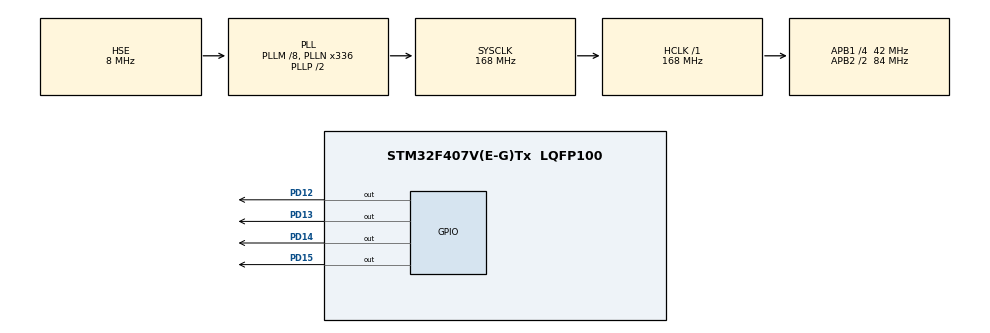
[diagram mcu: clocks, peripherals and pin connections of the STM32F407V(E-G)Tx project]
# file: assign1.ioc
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Mcu.Family=STM32F4
Mcu.Name=STM32F407V(E-G)Tx
Mcu.Package=LQFP100
NVIC.PriorityGroup=NVIC_PRIORITYGROUP_4
NVIC.TIM1_UP_TIM10_IRQn=true\:0\:0\:false\:false\:true\:false\:true\:true
NVIC.TimeBase=TIM1_UP_TIM10_IRQn
NVIC.TimeBaseIP=TIM1
PD12.Signal=GPIO_Output
PD13.Signal=GPIO_Output
PD14.Signal=GPIO_Output
PD15.Signal=GPIO_Output
ProjectManager.HeapSize=0x200
ProjectManager.StackSize=0x400
ProjectManager.TargetToolchain=STM32CubeIDE
RCC.48MHZClocksFreq_Value=48000000
RCC.AHBFreq_Value=168000000
RCC.APB1CLKDivider=RCC_HCLK_DIV4
RCC.APB1Freq_Value=42000000
RCC.APB1TimFreq_Value=84000000
RCC.APB2CLKDivider=RCC_HCLK_DIV2
RCC.APB2Freq_Value=84000000
RCC.APB2TimFreq_Value=168000000
RCC.CortexFreq_Value=168000000
RCC.HCLKFreq_Value=168000000
RCC.HSE_VALUE=8000000
RCC.HSI_VALUE=16000000
RCC.LSE_VALUE=32768
RCC.PLLM=8
RCC.PLLN=336
RCC.PLLQ=7
RCC.PLLSourceVirtual=RCC_PLLSOURCE_HSE
RCC.SYSCLKFreq_VALUE=168000000
RCC.SYSCLKSource=RCC_SYSCLKSOURCE_PLLCLK
RCC.VCOOutputFreq_Value=336000000
VP_SYS_VS_tim1.Mode=TIM1
board=STM32F407G-DISC1

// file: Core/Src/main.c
/* USER CODE BEGIN Header */
/**
  ******************************************************************************
  * @file           : main.c
  * @brief          : Main program body
  ******************************************************************************
  * @attention
  *
  * Copyright (c) 2024 STMicroelectronics.
  * All rights reserved.
  *
  * This software is licensed under terms that can be found in the LICENSE file
  * in the root directory of this software component.
  * If no LICENSE file comes with this software, it is provided AS-IS.
  *
  ******************************************************************************
  */
/* USER CODE END Header */
#include "main.h"

/* USER CODE BEGIN Includes */
#include<stdio.h>
#include "FreeRTOS.h"
#include "task.h"
#include "FreeRTOSConfig.h"

/* USER CODE END Includes */

void SystemClock_Config(void);
static void MX_GPIO_Init(void);

/* USER CODE BEGIN 0 */
void vAperiodicTask(void *pvParam)
{
	 while(1)
	 {
		 HAL_GPIO_TogglePin(GPIOD, GPIO_PIN_12);

		 vTaskDelay(1000 / portTICK_RATE_MS);

	 }
	 vTaskDelete(NULL);
}
void vAperiodicTask1(void *pvParam)
{
	while(1)
	{
		 HAL_GPIO_TogglePin(GPIOD, GPIO_PIN_13);

		 vTaskDelay(2000 / portTICK_RATE_MS);
	}
	vTaskDelete(NULL);
}

void vPeriodicTask2(void *pvParam)
{
	portTickType wakeupTime = xTaskGetTickCount();
	while(1)
	{
		HAL_GPIO_TogglePin(GPIOD, GPIO_PIN_14);

		vTaskDelayUntil(&wakeupTime, 3000 / portTICK_RATE_MS);
	}
	vTaskDelete(NULL);
}

void vPeriodicTask3(void *pvParam)
{
	portTickType wakeupTime = xTaskGetTickCount();
	while(1)
	{
		 HAL_GPIO_TogglePin(GPIOD, GPIO_PIN_15);

		 vTaskDelayUntil(&wakeupTime, 4000 / portTICK_RATE_MS);
	}
	vTaskDelete(NULL);
}
/* USER CODE END 0 */

int main(void)
{

  /* USER CODE BEGIN 1 */
         BaseType_t ret;
  /* USER CODE END 1 */

  /* MCU Configuration--------------------------------------------------------*/

  /* Reset of all peripherals, Initializes the Flash interface and the Systick. */
  HAL_Init();

  /* Configure the system clock */
  SystemClock_Config();

  /* Initialize all configured peripherals */
  MX_GPIO_Init();
  /* USER CODE BEGIN 2 */
  ret = xTaskCreate(vPeriodicTask3, "Periodic", configMINIMAL_STACK_SIZE, NULL, 1, NULL);
  if(ret != pdTRUE)
	     Error_Handler();
  ret = xTaskCreate(vPeriodicTask2, "Periodic1", configMINIMAL_STACK_SIZE, NULL, 1, NULL);
  if(ret != pdTRUE)
	      Error_Handler();
  ret = xTaskCreate(vAperiodicTask, "Aperiodic", configMINIMAL_STACK_SIZE, NULL, 1, NULL);
  if(ret != pdTRUE)
	     Error_Handler();
  ret = xTaskCreate(vAperiodicTask1, "Aperiodic1", configMINIMAL_STACK_SIZE, NULL, 1, NULL);
  if(ret != pdTRUE)
	     Error_Handler();

  vTaskStartScheduler();
  /* USER CODE END 2 */

  /* Infinite loop */
  while (1)
  {

  }
}

void SystemClock_Config(void)
{
  RCC_OscInitTypeDef RCC_OscInitStruct = {0};
  RCC_ClkInitTypeDef RCC_ClkInitStruct = {0};

  /** Configure the main internal regulator output voltage
  */
  __HAL_RCC_PWR_CLK_ENABLE();
  __HAL_PWR_VOLTAGESCALING_CONFIG(PWR_REGULATOR_VOLTAGE_SCALE1);

  /** Initializes the RCC Oscillators according to the specified parameters
  * in the RCC_OscInitTypeDef structure.
  */
  RCC_OscInitStruct.OscillatorType = RCC_OSCILLATORTYPE_HSE;
  RCC_OscInitStruct.HSEState = RCC_HSE_OFF;
  RCC_OscInitStruct.PLL.PLLState = RCC_PLL_ON;
  RCC_OscInitStruct.PLL.PLLSource = RCC_PLLSOURCE_HSE;
  RCC_OscInitStruct.PLL.PLLM = 8;
  RCC_OscInitStruct.PLL.PLLN = 336;
  RCC_OscInitStruct.PLL.PLLP = RCC_PLLP_DIV2;
  RCC_OscInitStruct.PLL.PLLQ = 7;
  if (HAL_RCC_OscConfig(&RCC_OscInitStruct) != HAL_OK)
  {
    Error_Handler();
  }

  /** Initializes the CPU, AHB and APB buses clocks
  */
  RCC_ClkInitStruct.ClockType = RCC_CLOCKTYPE_HCLK|RCC_CLOCKTYPE_SYSCLK
                              |RCC_CLOCKTYPE_PCLK1|RCC_CLOCKTYPE_PCLK2;
  RCC_ClkInitStruct.SYSCLKSource = RCC_SYSCLKSOURCE_PLLCLK;
  RCC_ClkInitStruct.AHBCLKDivider = RCC_SYSCLK_DIV1;
  RCC_ClkInitStruct.APB1CLKDivider = RCC_HCLK_DIV4;
  RCC_ClkInitStruct.APB2CLKDivider = RCC_HCLK_DIV2;

  if (HAL_RCC_ClockConfig(&RCC_ClkInitStruct, FLASH_LATENCY_5) != HAL_OK)
  {
    Error_Handler();
  }
}

static void MX_GPIO_Init(void)
{
  GPIO_InitTypeDef GPIO_InitStruct = {0};

  /* GPIO Ports Clock Enable */
  __HAL_RCC_GPIOD_CLK_ENABLE();

  /*Configure GPIO pin Output Level */
  HAL_GPIO_WritePin(GPIOD, GPIO_PIN_12|GPIO_PIN_13|GPIO_PIN_14|GPIO_PIN_15, GPIO_PIN_RESET);

  /*Configure GPIO pins : PD12 PD13 PD14 PD15 */
  GPIO_InitStruct.Pin = GPIO_PIN_12|GPIO_PIN_13|GPIO_PIN_14|GPIO_PIN_15;
  GPIO_InitStruct.Mode = GPIO_MODE_OUTPUT_PP;
  GPIO_InitStruct.Pull = GPIO_NOPULL;
  GPIO_InitStruct.Speed = GPIO_SPEED_FREQ_LOW;
  HAL_GPIO_Init(GPIOD, &GPIO_InitStruct);

}

void HAL_TIM_PeriodElapsedCallback(TIM_HandleTypeDef *htim)
{
  if (htim->Instance == TIM1) {
    HAL_IncTick();
  }
}

void Error_Handler(void)
{
  __disable_irq();
  while (1)
  {
  }
}
